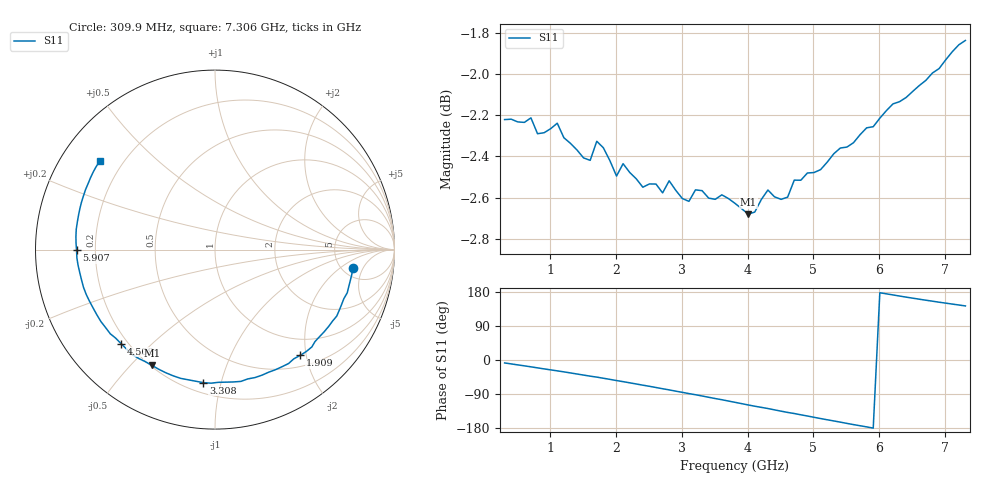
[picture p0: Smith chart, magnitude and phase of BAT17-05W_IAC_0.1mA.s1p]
! Infineon Technologies  Discrete & RF Semiconductors
! BAT17-05W
! IAC = 0.1 mA
! One-Port S-Parameters
# Hz  S  MA  R  50
!f  S11
!Hz  Mag  Ang
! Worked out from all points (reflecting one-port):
!   71 points, 309.9 MHz to 7.306 GHz, reference 50 ohm
!   lowest |S11| = -2.7 dB at 4.008 GHz (marker M1), VSWR 6.53, Z = 10.3 - j28.7 ohm
!   phase of S11 starts at -8 deg and turns -210 deg over the sweep
!   S11 on the Smith chart (normalised r, x): 309.9 MHz: 6.14, -3.22; 1.909 GHz: 0.69, -1.89; 3.308 GHz: 0.27, -0.88; 4.508 GHz: 0.17, -0.40; 5.907 GHz: 0.13, -0.00; 7.306 GHz: 0.12, +0.33
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3.0985e8  0.7744 -7.8
7.0965e8  0.7752 -18.1
1.10945e9  0.7728 -28.7
1.2094e9  0.7666 -31.3
1.6092e9  0.7569 -42.6
1.70915e9  0.7651 -45.1
1.90905e9  0.7568 -51.1
2.10895e9  0.7555 -57.1
2.6087e9  0.747 -72.6
2.8086e9  0.7483 -78.9
3.0085e9  0.7409 -85.3
3.30835e9  0.7442 -95.0
3.6082e9  0.7425 -104.8
3.8081e9  0.7389 -111.7
4.008e9  0.7345 -118.6
4.30785e9  0.7445 -128.0
4.50775e9  0.7406 -135.0
4.70765e9  0.7486 -141.2
4.90755e9  0.7516 -147.8
5.2074e9  0.7561 -157.7
5.4073e9  0.7622 -164.0
5.6072e9  0.7644 -170.5
5.90705e9  0.7713 -179.7
6.2069e9  0.7812 171.7
6.50675e9  0.7867 163.2
6.8066e9  0.7949 155.2
7.10645e9  0.8044 147.6
7.30635e9  0.8095 142.6
